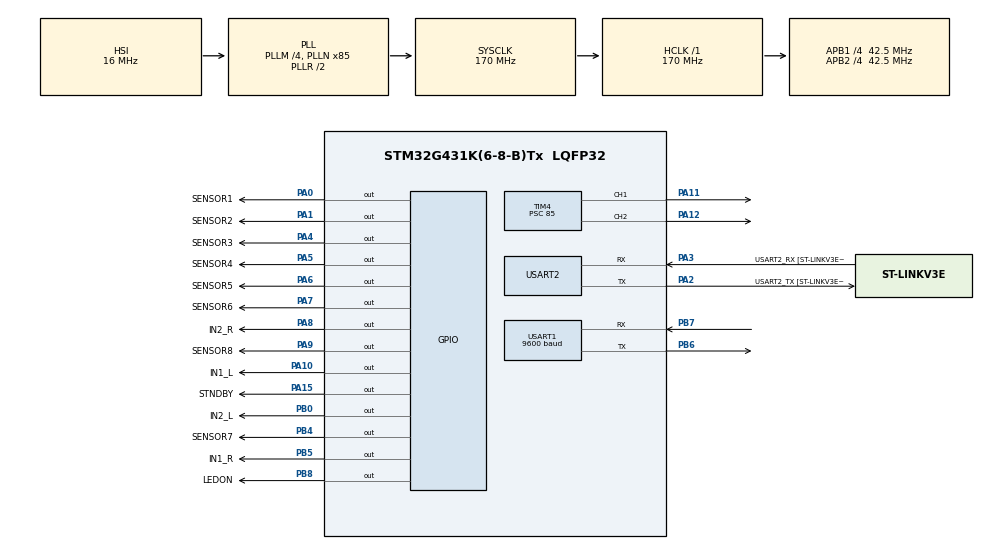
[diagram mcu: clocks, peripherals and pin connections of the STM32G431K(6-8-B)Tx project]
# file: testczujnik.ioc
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Mcu.Family=STM32G4
Mcu.Name=STM32G431K(6-8-B)Tx
Mcu.Package=LQFP32
NVIC.PriorityGroup=NVIC_PRIORITYGROUP_4
NVIC.USART1_IRQn=true\:0\:0\:false\:false\:true\:true\:true\:true
NVIC.USART2_IRQn=true\:0\:0\:false\:false\:true\:true\:true\:true
PA0.GPIO_Label=SENSOR1
PA0.GPIO_Speed=GPIO_SPEED_FREQ_VERY_HIGH
PA0.Signal=GPIO_Output
PA1.GPIO_Label=SENSOR2
PA1.GPIO_Speed=GPIO_SPEED_FREQ_VERY_HIGH
PA1.Signal=GPIO_Output
PA10.GPIO_Label=IN1_L
PA10.GPIO_Speed=GPIO_SPEED_FREQ_VERY_HIGH
PA10.Signal=GPIO_Output
PA11.Signal=S_TIM4_CH1
PA12.Signal=S_TIM4_CH2
PA13.GPIO_Label=T_SWDIO
PA13.Mode=Serial_Wire
PA13.Signal=SYS_JTMS-SWDIO
PA14.GPIO_Label=T_SWCLK
PA14.Mode=Serial_Wire
PA14.Signal=SYS_JTCK-SWCLK
PA15.GPIO_Label=STNDBY
PA15.GPIO_Speed=GPIO_SPEED_FREQ_LOW
PA15.Signal=GPIO_Output
PA2.GPIO_Label=USART2_TX [ST-LINKV3E_VCP_RX]
PA2.Mode=Asynchronous
PA2.Signal=USART2_TX
PA3.GPIO_Label=USART2_RX [ST-LINKV3E_VCP_TX]
PA3.Mode=Asynchronous
PA3.Signal=USART2_RX
PA4.GPIO_Label=SENSOR3
PA4.GPIO_Speed=GPIO_SPEED_FREQ_VERY_HIGH
PA4.Signal=GPIO_Output
PA5.GPIO_Label=SENSOR4
PA5.GPIO_Speed=GPIO_SPEED_FREQ_VERY_HIGH
PA5.Signal=GPIO_Output
PA6.GPIO_Label=SENSOR5
PA6.GPIO_Speed=GPIO_SPEED_FREQ_VERY_HIGH
PA6.Signal=GPIO_Output
PA7.GPIO_Label=SENSOR6
PA7.GPIO_Speed=GPIO_SPEED_FREQ_VERY_HIGH
PA7.Signal=GPIO_Output
PA8.GPIO_Label=IN2_R
PA8.GPIO_Speed=GPIO_SPEED_FREQ_VERY_HIGH
PA8.Signal=GPIO_Output
PA9.GPIO_Label=SENSOR8
PA9.GPIO_Speed=GPIO_SPEED_FREQ_VERY_HIGH
PA9.Signal=GPIO_Output
PB0.GPIO_Label=IN2_L
PB0.GPIO_Speed=GPIO_SPEED_FREQ_VERY_HIGH
PB0.Signal=GPIO_Output
PB3.Signal=SYS_JTDO-SWO
PB4.GPIO_Label=SENSOR7
PB4.GPIO_Speed=GPIO_SPEED_FREQ_VERY_HIGH
PB4.Signal=GPIO_Output
PB5.GPIO_Label=IN1_R
PB5.GPIO_Speed=GPIO_SPEED_FREQ_VERY_HIGH
PB5.Signal=GPIO_Output
PB6.GPIO_Speed=GPIO_SPEED_FREQ_VERY_HIGH
PB6.Mode=Asynchronous
PB6.Signal=USART1_TX
PB7.GPIO_Speed=GPIO_SPEED_FREQ_VERY_HIGH
PB7.Mode=Asynchronous
PB7.Signal=USART1_RX
PB8-BOOT0.GPIO_Label=LEDON
PB8-BOOT0.Signal=GPIO_Output
ProjectManager.HeapSize=0x200
ProjectManager.StackSize=0x400
ProjectManager.TargetToolchain=STM32CubeIDE
RCC.ADC12Freq_Value=170000000
RCC.AHBFreq_Value=170000000
RCC.APB1CLKDivider=RCC_HCLK_DIV4
RCC.APB1Freq_Value=42500000
RCC.APB1TimFreq_Value=85000000
RCC.APB2CLKDivider=RCC_HCLK_DIV4
RCC.APB2Freq_Value=42500000
RCC.APB2TimFreq_Value=85000000
RCC.CortexFreq_Value=170000000
RCC.EXTERNAL_CLOCK_VALUE=12288000
RCC.HCLKFreq_Value=170000000
RCC.HSE_VALUE=8000000
RCC.HSI48_VALUE=48000000
RCC.HSI_VALUE=16000000
RCC.LSE_VALUE=32768
RCC.PLLM=RCC_PLLM_DIV4
RCC.PLLN=85
RCC.SYSCLKFreq_VALUE=170000000
RCC.SYSCLKSource=RCC_SYSCLKSOURCE_PLLCLK
RCC.USBFreq_Value=170000000
RCC.VCOOutputFreq_Value=340000000
SH.S_TIM4_CH1.0=TIM4_CH1,PWM Generation1 CH1
SH.S_TIM4_CH2.0=TIM4_CH2,PWM Generation2 CH2
TIM1.PeriodNoDither=65535
TIM1.Prescaler=85
TIM16.Prescaler=85-1
TIM2.Prescaler=85
TIM4.Channel-PWM\ Generation1\ CH1=TIM_CHANNEL_1
TIM4.Channel-PWM\ Generation2\ CH2=TIM_CHANNEL_2
TIM4.PeriodNoDither=999
TIM4.Prescaler=85
USART1.BaudRate=9600
USART1.VirtualMode-Asynchronous=VM_ASYNC
USART2.VirtualMode-Asynchronous=VM_ASYNC
USART2.WordLength=WORDLENGTH_8B
VP_SYS_VS_DBSignals.Mode=DisableDeadBatterySignals
VP_TIM16_VS_ClockSourceINT.Mode=Enable_Timer
VP_TIM1_VS_ClockSourceINT.Mode=Internal
VP_TIM2_VS_ClockSourceINT.Mode=Internal
VP_TIM4_VS_ClockSourceINT.Mode=Internal
board=NUCLEO-G431KB

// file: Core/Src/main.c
/* USER CODE BEGIN Header */
/* USER CODE END Header */
#include "main.h"
#include "tim.h"
#include "usart.h"
#include "gpio.h"

/* USER CODE BEGIN Includes */
#include "stdlib.h"
#include "stdio.h"
#include "string.h"
#include "Line_Follower.h"
#include "RingBuffer.h"
#include "SimpleParser.h"

/* USER CODE END Includes */

/* USER CODE BEGIN PV */
	/*Defines*/
	#define true 1;
	#define false 0;
	#define ENDLINE '\n'

	LineFollower_t REGIN;

	RingBuffer_t RB, ReceiveBuffer;
	uint8_t ReceivedData[32];
	uint8_t ReceivedLines;

	/*PIDR regulator*/
	int Sensors_read = 0x00000000;
	int Position;
	float Ki = 0;
	float Kr = 0;
	int P, I, D, R;
	int Last_error = 0;
	int Errors[10] = {0,0,0,0,0,0,0,0,0,0};
	int Error_sum = 0;
	int Last_end = 0;	// 0 -> Left, 1 -> Right
	int Last_idle = 0;
	float Speed_level = 1;

	int ARR = 4;
	int actives = 0;

	/*Sharp turn speed*/

	/*Communication*/
	char buffer[28];
	uint8_t RxData;

	/*Time mode*/
	_Bool Is_time_mode = false;
	_Bool IS_DATA_OK = true;
	_Bool Is_Mode_changed;
	char char_value[2];

/* USER CODE END PV */

void SystemClock_Config(void);

/* USER CODE BEGIN 0 */
void delay_us (uint16_t us)
{
	__HAL_TIM_SET_COUNTER(&htim2,0);  // set the counter value a 0
	while (__HAL_TIM_GET_COUNTER(&htim2) < us);  // wait for the counter to reach the us input in the parameter
	__HAL_TIM_SET_COUNTER(&htim2,0);

}

void Set_Pin_Output (GPIO_TypeDef *GPIOx, uint16_t GPIO_Pin)
{
	GPIO_InitTypeDef GPIO_InitStruct = {0};
	GPIO_InitStruct.Pin = GPIO_Pin;
	GPIO_InitStruct.Mode = GPIO_MODE_OUTPUT_PP;
	GPIO_InitStruct.Speed = GPIO_SPEED_FREQ_LOW;
	HAL_GPIO_Init(GPIOx, &GPIO_InitStruct);
}

void Set_Pin_Input (GPIO_TypeDef *GPIOx, uint16_t GPIO_Pin)
{
	GPIO_InitTypeDef GPIO_InitStruct = {0};
	GPIO_InitStruct.Pin = GPIO_Pin;
	GPIO_InitStruct.Mode = GPIO_MODE_INPUT;
	GPIO_InitStruct.Pull = GPIO_PULLUP;
	HAL_GPIO_Init(GPIOx, &GPIO_InitStruct);
}

void motor_control (double pos_right, double pos_left)
{
	if (pos_left < 0 )
	{
		__HAL_TIM_SET_COMPARE (&htim4, TIM_CHANNEL_2, (int)(ARR*pos_left*-1));
		HAL_GPIO_WritePin(IN1_L_GPIO_Port, IN1_L_Pin, GPIO_PIN_SET);
		HAL_GPIO_WritePin(IN2_L_GPIO_Port, IN2_L_Pin, GPIO_PIN_RESET);
	}
	else
	{
		__HAL_TIM_SET_COMPARE (&htim4, TIM_CHANNEL_2, (int)(ARR*pos_left));
		HAL_GPIO_WritePin(IN1_L_GPIO_Port, IN1_L_Pin, GPIO_PIN_RESET);
		HAL_GPIO_WritePin(IN2_L_GPIO_Port, IN2_L_Pin, GPIO_PIN_SET);
	}
	if (pos_right < 0 )
	{
		__HAL_TIM_SET_COMPARE (&htim4, TIM_CHANNEL_1, (int)(ARR*pos_right*-1));
		HAL_GPIO_WritePin(IN1_R_GPIO_Port, IN1_R_Pin, GPIO_PIN_SET);
		HAL_GPIO_WritePin(IN2_R_GPIO_Port, IN2_R_Pin, GPIO_PIN_RESET);
	}
	else
	{
		__HAL_TIM_SET_COMPARE (&htim4, TIM_CHANNEL_1, (int)(ARR*pos_right));
		HAL_GPIO_WritePin(IN1_R_GPIO_Port, IN1_R_Pin, GPIO_PIN_RESET);
		HAL_GPIO_WritePin(IN2_R_GPIO_Port, IN2_R_Pin, GPIO_PIN_SET);
	}
}

void sharp_turn () {

	if (Last_idle < 25)
	{
		if (Last_end == 1)
			motor_control(REGIN.Sharp_bend_speed_right, REGIN.Sharp_bend_speed_left);
		else
			motor_control(REGIN.Sharp_bend_speed_left, REGIN.Sharp_bend_speed_right);
	}
	else
	{
		if (Last_end == 1)
			motor_control(REGIN.Bend_speed_right, REGIN.Bend_speed_left);
		else
			motor_control(REGIN.Bend_speed_left, REGIN.Bend_speed_right);
	}
}
int QTR8_read ()
{
	HAL_GPIO_WritePin(LEDON_GPIO_Port, LEDON_Pin, 1);

	Set_Pin_Output(SENSOR1_GPIO_Port, SENSOR1_Pin);
	Set_Pin_Output(SENSOR2_GPIO_Port, SENSOR2_Pin);
	Set_Pin_Output(SENSOR3_GPIO_Port, SENSOR3_Pin);
	Set_Pin_Output(SENSOR4_GPIO_Port, SENSOR4_Pin);
	Set_Pin_Output(SENSOR5_GPIO_Port, SENSOR5_Pin);
	Set_Pin_Output(SENSOR6_GPIO_Port, SENSOR6_Pin);
	Set_Pin_Output(SENSOR7_GPIO_Port, SENSOR7_Pin);
	Set_Pin_Output(SENSOR8_GPIO_Port, SENSOR8_Pin);

	HAL_GPIO_WritePin (SENSOR1_GPIO_Port, SENSOR1_Pin, 1);
	HAL_GPIO_WritePin (SENSOR2_GPIO_Port, SENSOR2_Pin, 1);
	HAL_GPIO_WritePin (SENSOR3_GPIO_Port, SENSOR3_Pin, 1);
	HAL_GPIO_WritePin (SENSOR4_GPIO_Port, SENSOR4_Pin, 1);
	HAL_GPIO_WritePin (SENSOR5_GPIO_Port, SENSOR5_Pin, 1);
	HAL_GPIO_WritePin (SENSOR6_GPIO_Port, SENSOR6_Pin, 1);
	HAL_GPIO_WritePin (SENSOR7_GPIO_Port, SENSOR7_Pin, 1);
	HAL_GPIO_WritePin (SENSOR8_GPIO_Port, SENSOR8_Pin, 1);

	delay_us(10);

	Set_Pin_Input(SENSOR1_GPIO_Port, SENSOR1_Pin);
	Set_Pin_Input(SENSOR2_GPIO_Port, SENSOR2_Pin);
	Set_Pin_Input(SENSOR3_GPIO_Port, SENSOR3_Pin);
	Set_Pin_Input(SENSOR4_GPIO_Port, SENSOR4_Pin);
	Set_Pin_Input(SENSOR5_GPIO_Port, SENSOR5_Pin);
	Set_Pin_Input(SENSOR6_GPIO_Port, SENSOR6_Pin);
	Set_Pin_Input(SENSOR7_GPIO_Port, SENSOR7_Pin);
	Set_Pin_Input(SENSOR8_GPIO_Port, SENSOR8_Pin);

	// Threshold
	 delay_us(4500);

	Sensors_read = 0x00000000;
	int pos = 0;
  int active = 0;

	if (HAL_GPIO_ReadPin(SENSOR1_GPIO_Port, SENSOR1_Pin)) {
		Sensors_read |= 0x00000001;
		pos += 1000;//1000
    active++;
		Last_end = 1;
	}
	if (HAL_GPIO_ReadPin(SENSOR2_GPIO_Port, SENSOR2_Pin)) {
		Sensors_read |= 0x00000010;
		pos += 2000;//2000
    active++;
  }
	if (HAL_GPIO_ReadPin(SENSOR3_GPIO_Port, SENSOR3_Pin)) {
		Sensors_read |= 0x00000100;
		pos += 3000;//3000
    active++;
  }
	if (HAL_GPIO_ReadPin(SENSOR4_GPIO_Port, SENSOR4_Pin)) {
		Sensors_read |= 0x00001000;
		pos += 4000;//4000
    active++;
  }
	if (HAL_GPIO_ReadPin(SENSOR5_GPIO_Port, SENSOR5_Pin)) {
		Sensors_read |= 0x00010000;
		pos += 5000;//5000
    active++;
  }
	if (HAL_GPIO_ReadPin(SENSOR6_GPIO_Port, SENSOR6_Pin)) {
		Sensors_read |= 0x00100000;
		pos += 6000;//6000
    active++;
  }
	if (HAL_GPIO_ReadPin(SENSOR7_GPIO_Port, SENSOR7_Pin)) {
		Sensors_read |= 0x01000000;
		pos += 7000;//7000
    active++;
  }
	if (HAL_GPIO_ReadPin(SENSOR8_GPIO_Port, SENSOR8_Pin)) {
		Sensors_read |= 0x10000000;
		pos += 8000;//8000
    active++;
		Last_end = 0;
  }

  HAL_GPIO_WritePin(LEDON_GPIO_Port, LEDON_Pin, 0);

  actives = active;
	Position = pos/active;

	if (actives == 0)
		Last_idle++;
	else
		Last_idle = 0;

	return pos/active;
}

void forward_brake(int pos_right, int pos_left)
{
	if (actives == 0)
		sharp_turn();
	else
	  motor_control(pos_right, pos_left);
}

void past_errors (int error)
{
  for (int i = 9; i > 0; i--)
      Errors[i] = Errors[i-1];
  Errors[0] = error;
}

int errors_sum (int index, int abs)
{
  int sum = 0;
  for (int i = 0; i < index; i++)
  {
    if (abs == 1 && Errors[i] < 0)
      sum += -Errors[i];
    else
      sum += Errors[i];
  }
  return sum;
}

void PID_control() {
  uint16_t position = QTR8_read();
  int error = 4500 - position;
  past_errors(error);

  P = error;
  I = errors_sum(5, 0);
  D = error - Last_error;
  R = errors_sum(5, 1);
  Last_error = error;

  int motorspeed = P*REGIN.Kp + I*Ki + D*REGIN.Kd;

  int motorspeedl = REGIN.Base_speed_L + motorspeed - R*Kr;
  int motorspeedr = REGIN.Base_speed_R - motorspeed - R*Kr;

  if (motorspeedl > REGIN.Max_speed_L)
    motorspeedl = REGIN.Max_speed_L;
  if (motorspeedr > REGIN.Max_speed_R)
    motorspeedr = REGIN.Max_speed_R;

	forward_brake(motorspeedr, motorspeedl);
}
/* USER CODE END 0 */

int main(void)
{

  /* MCU Configuration--------------------------------------------------------*/

  /* Reset of all peripherals, Initializes the Flash interface and the Systick. */
  HAL_Init();

  /* Configure the system clock */
  SystemClock_Config();

  /* Initialize all configured peripherals */
  MX_GPIO_Init();
  MX_USART2_UART_Init();
  MX_TIM1_Init();
  MX_TIM16_Init();
  MX_TIM4_Init();
  MX_USART1_UART_Init();
  MX_TIM2_Init();
  /* USER CODE BEGIN 2 */
  REGIN.Kp = 0.02;
  REGIN.Kd = 350 ;
  REGIN.Base_speed_R = 92;
  REGIN.Base_speed_L = 92;
  REGIN.Max_speed_R = 140;
  REGIN.Max_speed_L = 140;
  REGIN.Sharp_bend_speed_right=-90;
  REGIN.Sharp_bend_speed_left=185;
  REGIN.Bend_speed_right=-50;
  REGIN.Bend_speed_left=100;
  /*Start receiving data from Bluetooth*/
     HAL_UART_Receive_IT(&huart1,&RxData,1);

     /*Start and compare timers*/

    //HAL_TIM_Base_Start(&htim3);
     HAL_TIM_PWM_Start(&htim4, TIM_CHANNEL_1);
     HAL_TIM_PWM_Start(&htim4, TIM_CHANNEL_2);
     //__HAL_TIM_SET_COMPARE (&htim4, TIM_CHANNEL_1, 100);
     __HAL_TIM_SET_COMPARE (&htim4, TIM_CHANNEL_2, 100);
     __HAL_TIM_SET_COMPARE (&htim4, TIM_CHANNEL_1, 100);
     HAL_TIM_Base_Start(&htim2);

     HAL_GPIO_TogglePin(STNDBY_GPIO_Port, STNDBY_Pin);
     HAL_Delay(2000);
     HAL_GPIO_TogglePin(STNDBY_GPIO_Port, STNDBY_Pin);

  /* USER CODE END 2 */

  /* Infinite loop */
     while (1)
      {

    /* USER CODE BEGIN 3 */
    	  PID_control();
    	  if(ReceivedLines > 0)
    	 	  {
    	 		  Parser_TakeLine(&ReceiveBuffer, &ReceivedData);
    	 		  Parser_Parse(ReceivedData,&REGIN);

    	 		  ReceivedLines--;
    	 	  }
      }
  /* USER CODE END 3 */
}

void SystemClock_Config(void)
{
  RCC_OscInitTypeDef RCC_OscInitStruct = {0};
  RCC_ClkInitTypeDef RCC_ClkInitStruct = {0};

  /** Configure the main internal regulator output voltage
  */
  HAL_PWREx_ControlVoltageScaling(PWR_REGULATOR_VOLTAGE_SCALE1_BOOST);

  /** Initializes the RCC Oscillators according to the specified parameters
  * in the RCC_OscInitTypeDef structure.
  */
  RCC_OscInitStruct.OscillatorType = RCC_OSCILLATORTYPE_HSI;
  RCC_OscInitStruct.HSIState = RCC_HSI_ON;
  RCC_OscInitStruct.HSICalibrationValue = RCC_HSICALIBRATION_DEFAULT;
  RCC_OscInitStruct.PLL.PLLState = RCC_PLL_ON;
  RCC_OscInitStruct.PLL.PLLSource = RCC_PLLSOURCE_HSI;
  RCC_OscInitStruct.PLL.PLLM = RCC_PLLM_DIV4;
  RCC_OscInitStruct.PLL.PLLN = 85;
  RCC_OscInitStruct.PLL.PLLP = RCC_PLLP_DIV2;
  RCC_OscInitStruct.PLL.PLLQ = RCC_PLLQ_DIV2;
  RCC_OscInitStruct.PLL.PLLR = RCC_PLLR_DIV2;
  if (HAL_RCC_OscConfig(&RCC_OscInitStruct) != HAL_OK)
  {
    Error_Handler();
  }

  /** Initializes the CPU, AHB and APB buses clocks
  */
  RCC_ClkInitStruct.ClockType = RCC_CLOCKTYPE_HCLK|RCC_CLOCKTYPE_SYSCLK
                              |RCC_CLOCKTYPE_PCLK1|RCC_CLOCKTYPE_PCLK2;
  RCC_ClkInitStruct.SYSCLKSource = RCC_SYSCLKSOURCE_PLLCLK;
  RCC_ClkInitStruct.AHBCLKDivider = RCC_SYSCLK_DIV1;
  RCC_ClkInitStruct.APB1CLKDivider = RCC_HCLK_DIV4;
  RCC_ClkInitStruct.APB2CLKDivider = RCC_HCLK_DIV4;

  if (HAL_RCC_ClockConfig(&RCC_ClkInitStruct, FLASH_LATENCY_4) != HAL_OK)
  {
    Error_Handler();
  }
}

/* USER CODE BEGIN 4 */
void HAL_UART_RxCpltCallback(UART_HandleTypeDef *huart)
{
	if(huart->Instance == USART1)
	{
				if(RB_Write(&ReceiveBuffer, RxData) == RB_OK)
				{
					if(RxData == ENDLINE)
					{
						ReceivedLines++;
					}
				}
		    	HAL_UART_Receive_IT(&huart1,&RxData, 1);
	}
}
/* USER CODE END 4 */

void Error_Handler(void)
{
  __disable_irq();
  while (1)
  {
  }
}
